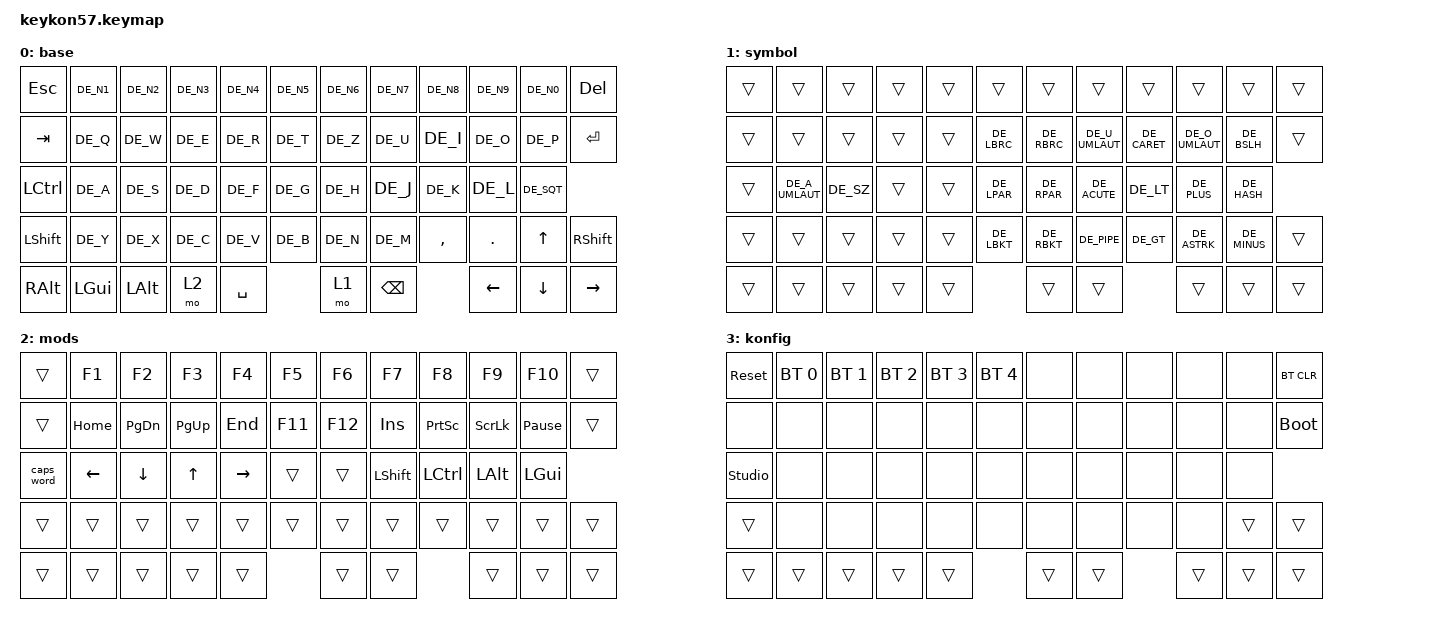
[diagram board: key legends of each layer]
#include <dt-bindings/zmk/mouse.h>
#include <behaviors.dtsi>
#include <dt-bindings/zmk/bt.h>
#include <dt-bindings/zmk/keys.h>
#include "keys_de.h"

/ {
    macros {
        shift: with_lshift {
            compatible = "zmk,behavior-macro-one-param";
            #binding-cells = <1>;
            bindings =
                <&macro_press>,
                <&kp LSHFT>,
                <&macro_tap>,
                <&macro_param_1to1 &kp MACRO_PLACEHOLDER>,
                <&macro_release>,
                <&kp LEFT_SHIFT>;

            label = "KEY_PRESS_WITH_LEFT_SHIFT_MODIFIER";
        };

        as: autoshift {
            compatible = "zmk,behavior-macro-one-param";
            #binding-cells = <1>;
            bindings =
                <&macro_press>,
                <&macro_param_1to1 &macro_param_1to2 &as_ht MACRO_PLACEHOLDER MACRO_PLACEHOLDER>,
                <&macro_pause_for_release>,
                <&macro_release>,
                <&macro_param_1to1 &macro_param_1to2 &as_ht MACRO_PLACEHOLDER MACRO_PLACEHOLDER>;

            label = "AUTOSHIFT_KEYPRESS";
        };
    };

    behaviors {
        as_ht: autoshift_hold_tap {
            compatible = "zmk,behavior-hold-tap";
            label = "AUTOSHIFT_HOLD_TAP";
            bindings = <&shift>, <&kp>;

            #binding-cells = <2>;
            tapping-term-ms = <300>;
        };
    };

    combos {
        compatible = "zmk,combos";

        ctrl+alt+del {
            bindings = <&kp LA(LC(DEL))>;
            key-positions = <25 27 38>;
        };
    };

    keymap {
        compatible = "zmk,keymap";

        base {
            bindings = <
&kp ESC    &kp DE_N1  &kp DE_N2  &kp DE_N3  &kp DE_N4  &kp DE_N5  &kp DE_N6  &kp DE_N7  &kp DE_N8  &kp DE_N9  &kp DE_N0   &kp DEL
&kp TAB    &kp DE_Q   &kp DE_W   &kp DE_E   &kp DE_R   &kp DE_T   &kp DE_Z   &kp DE_U   &kp DE_I   &kp DE_O   &kp DE_P    &kp RET
&kp LCTRL  &kp DE_A   &kp DE_S   &kp DE_D   &kp DE_F   &kp DE_G   &kp DE_H   &kp DE_J   &kp DE_K   &kp DE_L   &kp DE_SQT
&kp LSHFT  &kp DE_Y   &kp DE_X   &kp DE_C   &kp DE_V   &kp DE_B   &kp DE_N   &kp DE_M   &kp COMMA  &kp DOT    &kp UP      &kp RSHFT
&kp RALT   &kp LGUI   &kp LALT   &mo 2      &kp SPACE             &mo 1      &kp BSPC              &kp LEFT   &kp DOWN    &kp RIGHT
            >;
        };

        symbol {
            bindings = <
&trans  &trans           &trans     &trans  &trans  &trans       &trans       &trans           &trans        &trans           &trans        &trans
&trans  &trans           &trans     &trans  &trans  &kp DE_LBRC  &kp DE_RBRC  &kp DE_U_UMLAUT  &kp DE_CARET  &kp DE_O_UMLAUT  &kp DE_BSLH   &trans
&trans  &kp DE_A_UMLAUT  &kp DE_SZ  &trans  &trans  &kp DE_LPAR  &kp DE_RPAR  &kp DE_ACUTE     &kp DE_LT     &kp DE_PLUS      &kp DE_HASH
&trans  &trans           &trans     &trans  &trans  &kp DE_LBKT  &kp DE_RBKT  &kp DE_PIPE      &kp DE_GT     &kp DE_ASTRK     &kp DE_MINUS  &trans
&trans  &trans           &trans     &trans  &trans               &trans       &trans                         &trans           &trans        &trans
            >;
        };

        mods {
            bindings = <
&trans      &kp F1    &kp F2     &kp F3     &kp F4     &kp F5   &kp F6   &kp F7     &kp F8     &kp F9    &kp F10          &trans
&trans      &kp HOME  &kp PG_DN  &kp PG_UP  &kp END    &kp F11  &kp F12  &kp INS    &kp PSCRN  &kp SLCK  &kp PAUSE_BREAK  &trans
&caps_word  &kp LEFT  &kp DOWN   &kp UP     &kp RIGHT  &trans   &trans   &kp LSHFT  &kp LCTRL  &kp LALT  &kp LGUI
&trans      &trans    &trans     &trans     &trans     &trans   &trans   &trans     &trans     &trans    &trans           &trans
&trans      &trans    &trans     &trans     &trans              &trans   &trans                &trans    &trans           &trans
            >;
        };

        konfig {
            bindings = <
&sys_reset      &bt BT_SEL 0  &bt BT_SEL 1  &bt BT_SEL 2  &bt BT_SEL 3  &bt BT_SEL 4  &none   &none   &none  &none   &none   &bt BT_CLR
&none           &none         &none         &none         &none         &none         &none   &none   &none  &none   &none   &bootloader
&studio_unlock  &none         &none         &none         &none         &none         &none   &none   &none  &none   &none
&trans          &none         &none         &none         &none         &none         &none   &none   &none  &none   &trans  &trans
&trans          &trans        &trans        &trans        &trans                      &trans  &trans         &trans  &trans  &trans
            >;
        };
    };

    conditional_layers {
        compatible = "zmk,conditional-layers";

        konfig {
            if-layers = <3 3>;
            then-layer = <3>;
        };
    };
};
